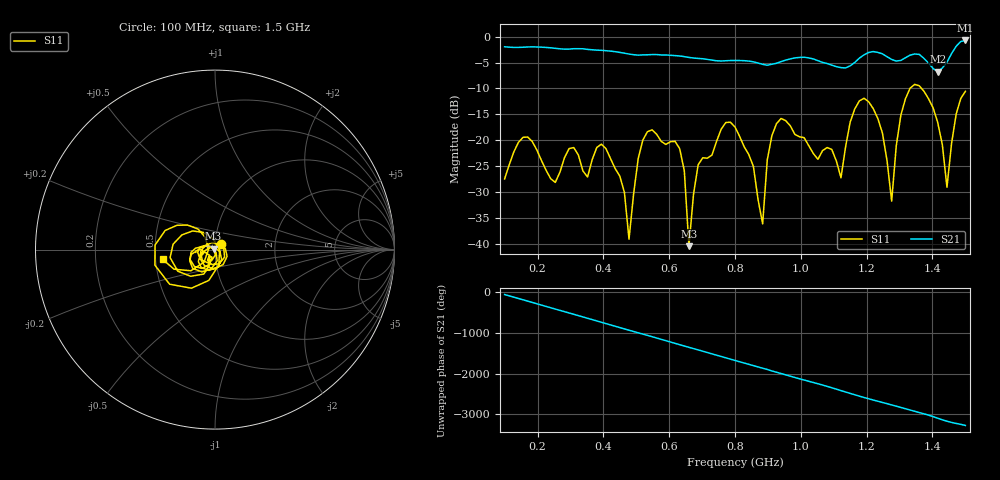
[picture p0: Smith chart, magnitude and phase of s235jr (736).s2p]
! NanoVNA-App
! Date: 2025-09-25 15:09:54
! Start: 100MHz Stop: 1,5GHz Points: 101
! S-Parameter data: F S11 S21 S12 S22
# Hz S RI R 50
!  Frequency  S11_Real  S11_Imag  S21_Real  S21_Imag  S12_Real  S12_Imag  S22_Real  S22_Imag
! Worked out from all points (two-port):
!   101 points, 100 MHz to 1.5 GHz, reference 50 ohm
!   highest |S21| = -0.74 dB at 1.5 GHz (marker M1); lowest = -6.8 dB at 1.416 GHz (marker M2)
!   |S21| within 3 dB of the highest: start of sweep to 632.8 MHz; 1.187 GHz to 1.258 GHz (71.32 MHz wide, 5.83 % of centre) (the widest 2 of 4)
!   lowest |S11| = -40.4 dB at 660 MHz (marker M3), VSWR 1.02, Z = 49.2 + j0.541 ohm
!   |S11| at or under -10 dB: start of sweep to 1.332 GHz; 1.367 GHz to end of sweep
!   S12 and S22 are empty: the file has one direction only
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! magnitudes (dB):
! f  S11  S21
! 100 MHz  -27.5  -2.0
! 156 MHz  -19.4  -2.1
! 338 MHz  -25.9  -2.3
! 408 MHz  -21.6  -2.7
! 478 MHz  -39.1  -3.4
! 520 MHz  -20.0  -3.5
! 576 MHz  -20.2  -3.5
! 632 MHz  -21.6  -3.7
! 660 MHz  -40.4  -4.0
! 688 MHz  -24.7  -4.2
! 800 MHz  -17.4  -4.6
! 884 MHz  -36.1  -5.4
! 926 MHz  -16.8  -5.2
! 1.038 GHz  -22.6  -4.3
! 1.122 GHz  -27.2  -6.0
! 1.192 GHz  -11.9  -3.5
! 1.248 GHz  -18.6  -3.3
! 1.276 GHz  -31.8  -4.4
! 1.332 GHz  -10.0  -3.6
! 1.416 GHz  -16.6  -6.8
! 1.444 GHz  -29.1  -4.9
! 1.5 GHz  -10.6  -0.7
